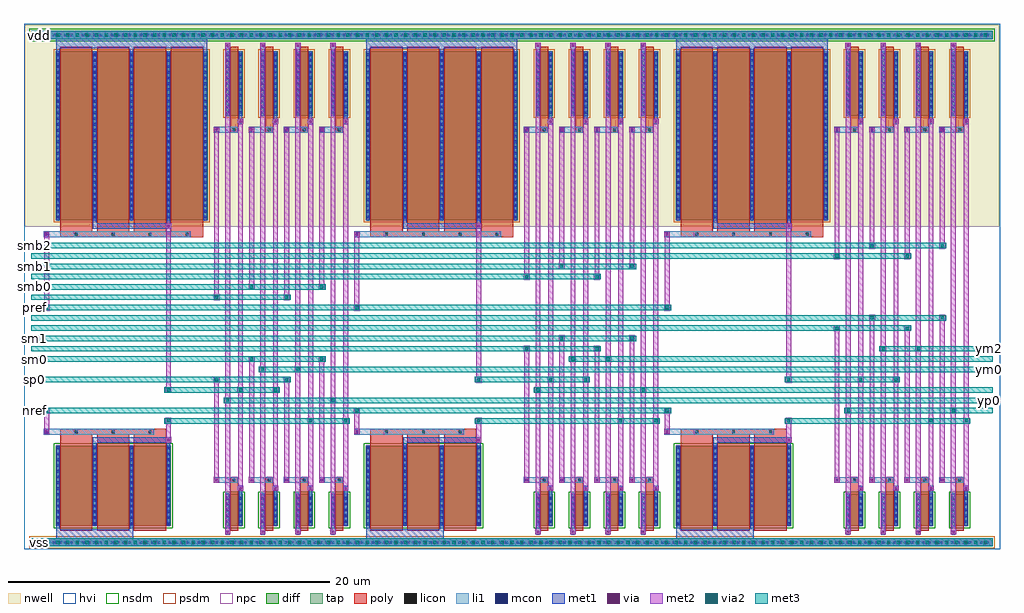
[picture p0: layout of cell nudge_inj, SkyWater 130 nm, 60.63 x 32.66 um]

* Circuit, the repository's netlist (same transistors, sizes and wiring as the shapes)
.subckt nudge_inj yp0 ym0 yp1 ym1 yp2 ym2 pref nref sp0 spb0 sm0 smb0 sp1 spb1 sm1 smb1 sp2 spb2 sm2 smb2 vdd vss
MXMN0 in0 nref vss vss nfet_g5v0d10v5 w=15u l=2u
MXSW1_0n ip0 sp0 yp0 vss nfet_g5v0d10v5 w=2u l=0.5u
MXSW2_0n ip0 sm0 ym0 vss nfet_g5v0d10v5 w=2u l=0.5u
MXSW3_0n in0 sp0 ym0 vss nfet_g5v0d10v5 w=2u l=0.5u
MXSW4_0n in0 sm0 yp0 vss nfet_g5v0d10v5 w=2u l=0.5u
MXMN1 in1 nref vss vss nfet_g5v0d10v5 w=15u l=2u
MXSW1_1n ip1 sp1 yp1 vss nfet_g5v0d10v5 w=2u l=0.5u
MXSW2_1n ip1 sm1 ym1 vss nfet_g5v0d10v5 w=2u l=0.5u
MXSW3_1n in1 sp1 ym1 vss nfet_g5v0d10v5 w=2u l=0.5u
MXSW4_1n in1 sm1 yp1 vss nfet_g5v0d10v5 w=2u l=0.5u
MXMN2 in2 nref vss vss nfet_g5v0d10v5 w=15u l=2u
MXSW1_2n ip2 sp2 yp2 vss nfet_g5v0d10v5 w=2u l=0.5u
MXSW2_2n ip2 sm2 ym2 vss nfet_g5v0d10v5 w=2u l=0.5u
MXSW3_2n in2 sp2 ym2 vss nfet_g5v0d10v5 w=2u l=0.5u
MXSW4_2n in2 sm2 yp2 vss nfet_g5v0d10v5 w=2u l=0.5u
MXMP0 ip0 pref vdd vdd pfet_g5v0d10v5 w=42u l=2u
MXSW1_0p ip0 spb0 yp0 vdd pfet_g5v0d10v5 w=4u l=0.5u
MXSW2_0p ip0 smb0 ym0 vdd pfet_g5v0d10v5 w=4u l=0.5u
MXSW3_0p in0 spb0 ym0 vdd pfet_g5v0d10v5 w=4u l=0.5u
MXSW4_0p in0 smb0 yp0 vdd pfet_g5v0d10v5 w=4u l=0.5u
MXMP1 ip1 pref vdd vdd pfet_g5v0d10v5 w=42u l=2u
MXSW1_1p ip1 spb1 yp1 vdd pfet_g5v0d10v5 w=4u l=0.5u
MXSW2_1p ip1 smb1 ym1 vdd pfet_g5v0d10v5 w=4u l=0.5u
MXSW3_1p in1 spb1 ym1 vdd pfet_g5v0d10v5 w=4u l=0.5u
MXSW4_1p in1 smb1 yp1 vdd pfet_g5v0d10v5 w=4u l=0.5u
MXMP2 ip2 pref vdd vdd pfet_g5v0d10v5 w=42u l=2u
MXSW1_2p ip2 spb2 yp2 vdd pfet_g5v0d10v5 w=4u l=0.5u
MXSW2_2p ip2 smb2 ym2 vdd pfet_g5v0d10v5 w=4u l=0.5u
MXSW3_2p in2 spb2 ym2 vdd pfet_g5v0d10v5 w=4u l=0.5u
MXSW4_2p in2 smb2 yp2 vdd pfet_g5v0d10v5 w=4u l=0.5u
.ends nudge_inj

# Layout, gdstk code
import gdstk
lib = gdstk.Library(unit=1e-6, precision=1e-09)
def R(c, l, rs):  # rectangles x0, y0, x1, y1
    for r in rs: c.add(gdstk.rectangle(r[:2], r[2:], *l))
def A(c, l, x, y, w, h, nx, ny, dx, dy):  # array of equal rectangles
    R(c, l, [(x+i*dx, y+j*dy, x+i*dx+w, y+j*dy+h) for i in range(nx) for j in range(ny)])
nwell = (64, 20)
diff = (65, 20)
tap = (65, 44)
poly = (66, 20)
licon = (66, 44)
li1 = (67, 20)
mcon = (67, 44)
met1 = (68, 20)
via = (68, 44)
met2 = (69, 20)
via2 = (69, 44)
met3 = (70, 20)
hvi = (75, 20)
nsdm = (93, 44)
psdm = (94, 20)
npc = (95, 20)

nudge_inj_p0_xmp0 = lib.new_cell('nudge_inj_p0_XMP0')
R(nudge_inj_p0_xmp0, diff, [(0,0.72,9.45,11.22)])
A(nudge_inj_p0_xmp0, poly, 0.29, 0.435, 2, 11.07, 4, 1, 2.29, 0)
A(nudge_inj_p0_xmp0, poly, 0.29, 11.22, 2, 0.86, 4, 1, 2.29, 0)
R(nudge_inj_p0_xmp0, poly, [(0.29,11.9,9.16,12.26)])
A(nudge_inj_p0_xmp0, licon, 0.06, 0.845, 0.17, 0.17, 5, 29, 2.29, 0.36)
A(nudge_inj_p0_xmp0, licon, 1.205, 11.995, 0.17, 0.17, 4, 1, 2.29, 0)
A(nudge_inj_p0_xmp0, li1, 0.06, 0.7, 0.17, 10.54, 5, 1, 2.29, 0)
R(nudge_inj_p0_xmp0, li1, [(1.04,11.9,8.41,12.26)])
A(nudge_inj_p0_xmp0, mcon, 0.06, 0.845, 0.17, 0.17, 5, 29, 2.29, 0.36)
A(nudge_inj_p0_xmp0, met1, 0.03, 0.19, 0.23, 0.53, 3, 1, 4.58, 0)
A(nudge_inj_p0_xmp0, met1, 0.03, 0.72, 0.23, 10.5, 5, 1, 2.29, 0)
R(nudge_inj_p0_xmp0, met1, [(0.03,0.19,9.42,0.53), (2.32,11.22,2.55,11.73), (6.9,11.22,7.13,11.73), (2.32,11.39,7.13,11.73)])
R(nudge_inj_p0_xmp0, psdm, [(-0.125,0.595,9.575,11.345)])
R(nudge_inj_p0_xmp0, npc, [(1.105,11.895,8.345,12.265)])

nudge_inj_p1_xsw1_0p = lib.new_cell('nudge_inj_p1_XSW1_0p')
R(nudge_inj_p1_xsw1_0p, diff, [(0,0.72,1.08,4.72)])
R(nudge_inj_p1_xsw1_0p, poly, [(0.29,0.435,0.79,5.005), (0.29,4.72,0.79,5.58), (0.29,5.4,0.79,5.76)])
A(nudge_inj_p1_xsw1_0p, licon, 0.06, 0.835, 0.17, 0.17, 1, 11, 0, 0.36)
A(nudge_inj_p1_xsw1_0p, licon, 0.85, 0.835, 0.17, 0.17, 1, 11, 0, 0.36)
R(nudge_inj_p1_xsw1_0p, licon, [(0.455,5.495,0.625,5.665)])
R(nudge_inj_p1_xsw1_0p, li1, [(0.06,0.7,0.23,4.74), (0.85,0.7,1.02,4.74), (0.29,5.4,0.79,5.76)])
A(nudge_inj_p1_xsw1_0p, mcon, 0.06, 0.835, 0.17, 0.17, 1, 11, 0, 0.36)
A(nudge_inj_p1_xsw1_0p, mcon, 0.85, 0.835, 0.17, 0.17, 1, 11, 0, 0.36)
R(nudge_inj_p1_xsw1_0p, met1, [(0.03,0.19,0.26,0.72), (0.03,0.19,0.26,0.53), (0.03,0.72,0.26,4.72), (0.82,0.72,1.05,4.72), (0.82,4.72,1.05,5.23), (0.82,4.89,1.05,5.23)])
R(nudge_inj_p1_xsw1_0p, psdm, [(-0.125,0.595,1.205,4.845)])
R(nudge_inj_p1_xsw1_0p, npc, [(0.355,5.395,0.725,5.765)])

nudge_inj_p2_xsw2_0p = lib.new_cell('nudge_inj_p2_XSW2_0p')
R(nudge_inj_p2_xsw2_0p, diff, [(0,0.72,1.08,4.72)])
R(nudge_inj_p2_xsw2_0p, poly, [(0.29,0.435,0.79,5.005), (0.29,4.72,0.79,5.58), (0.29,5.4,0.79,5.76)])
A(nudge_inj_p2_xsw2_0p, licon, 0.06, 0.835, 0.17, 0.17, 1, 11, 0, 0.36)
A(nudge_inj_p2_xsw2_0p, licon, 0.85, 0.835, 0.17, 0.17, 1, 11, 0, 0.36)
R(nudge_inj_p2_xsw2_0p, licon, [(0.455,5.495,0.625,5.665)])
R(nudge_inj_p2_xsw2_0p, li1, [(0.06,0.7,0.23,4.74), (0.85,0.7,1.02,4.74), (0.29,5.4,0.79,5.76)])
A(nudge_inj_p2_xsw2_0p, mcon, 0.06, 0.835, 0.17, 0.17, 1, 11, 0, 0.36)
A(nudge_inj_p2_xsw2_0p, mcon, 0.85, 0.835, 0.17, 0.17, 1, 11, 0, 0.36)
R(nudge_inj_p2_xsw2_0p, met1, [(0.03,0.19,0.26,0.72), (0.03,0.19,0.26,0.53), (0.03,0.72,0.26,4.72), (0.82,0.72,1.05,4.72), (0.82,4.72,1.05,5.23), (0.82,4.89,1.05,5.23)])
R(nudge_inj_p2_xsw2_0p, psdm, [(-0.125,0.595,1.205,4.845)])
R(nudge_inj_p2_xsw2_0p, npc, [(0.355,5.395,0.725,5.765)])

nudge_inj_p3_xsw3_0p = lib.new_cell('nudge_inj_p3_XSW3_0p')
R(nudge_inj_p3_xsw3_0p, diff, [(0,0.72,1.08,4.72)])
R(nudge_inj_p3_xsw3_0p, poly, [(0.29,0.435,0.79,5.005), (0.29,4.72,0.79,5.58), (0.29,5.4,0.79,5.76)])
A(nudge_inj_p3_xsw3_0p, licon, 0.06, 0.835, 0.17, 0.17, 1, 11, 0, 0.36)
A(nudge_inj_p3_xsw3_0p, licon, 0.85, 0.835, 0.17, 0.17, 1, 11, 0, 0.36)
R(nudge_inj_p3_xsw3_0p, licon, [(0.455,5.495,0.625,5.665)])
R(nudge_inj_p3_xsw3_0p, li1, [(0.06,0.7,0.23,4.74), (0.85,0.7,1.02,4.74), (0.29,5.4,0.79,5.76)])
A(nudge_inj_p3_xsw3_0p, mcon, 0.06, 0.835, 0.17, 0.17, 1, 11, 0, 0.36)
A(nudge_inj_p3_xsw3_0p, mcon, 0.85, 0.835, 0.17, 0.17, 1, 11, 0, 0.36)
R(nudge_inj_p3_xsw3_0p, met1, [(0.03,0.19,0.26,0.72), (0.03,0.19,0.26,0.53), (0.03,0.72,0.26,4.72), (0.82,0.72,1.05,4.72), (0.82,4.72,1.05,5.23), (0.82,4.89,1.05,5.23)])
R(nudge_inj_p3_xsw3_0p, psdm, [(-0.125,0.595,1.205,4.845)])
R(nudge_inj_p3_xsw3_0p, npc, [(0.355,5.395,0.725,5.765)])

nudge_inj_p4_xsw4_0p = lib.new_cell('nudge_inj_p4_XSW4_0p')
R(nudge_inj_p4_xsw4_0p, diff, [(0,0.72,1.08,4.72)])
R(nudge_inj_p4_xsw4_0p, poly, [(0.29,0.435,0.79,5.005), (0.29,4.72,0.79,5.58), (0.29,5.4,0.79,5.76)])
A(nudge_inj_p4_xsw4_0p, licon, 0.06, 0.835, 0.17, 0.17, 1, 11, 0, 0.36)
A(nudge_inj_p4_xsw4_0p, licon, 0.85, 0.835, 0.17, 0.17, 1, 11, 0, 0.36)
R(nudge_inj_p4_xsw4_0p, licon, [(0.455,5.495,0.625,5.665)])
R(nudge_inj_p4_xsw4_0p, li1, [(0.06,0.7,0.23,4.74), (0.85,0.7,1.02,4.74), (0.29,5.4,0.79,5.76)])
A(nudge_inj_p4_xsw4_0p, mcon, 0.06, 0.835, 0.17, 0.17, 1, 11, 0, 0.36)
A(nudge_inj_p4_xsw4_0p, mcon, 0.85, 0.835, 0.17, 0.17, 1, 11, 0, 0.36)
R(nudge_inj_p4_xsw4_0p, met1, [(0.03,0.19,0.26,0.72), (0.03,0.19,0.26,0.53), (0.03,0.72,0.26,4.72), (0.82,0.72,1.05,4.72), (0.82,4.72,1.05,5.23), (0.82,4.89,1.05,5.23)])
R(nudge_inj_p4_xsw4_0p, psdm, [(-0.125,0.595,1.205,4.845)])
R(nudge_inj_p4_xsw4_0p, npc, [(0.355,5.395,0.725,5.765)])

nudge_inj_p5_xmp1 = lib.new_cell('nudge_inj_p5_XMP1')
R(nudge_inj_p5_xmp1, diff, [(0,0.72,9.45,11.22)])
A(nudge_inj_p5_xmp1, poly, 0.29, 0.435, 2, 11.07, 4, 1, 2.29, 0)
A(nudge_inj_p5_xmp1, poly, 0.29, 11.22, 2, 0.86, 4, 1, 2.29, 0)
R(nudge_inj_p5_xmp1, poly, [(0.29,11.9,9.16,12.26)])
A(nudge_inj_p5_xmp1, licon, 0.06, 0.845, 0.17, 0.17, 5, 29, 2.29, 0.36)
A(nudge_inj_p5_xmp1, licon, 1.205, 11.995, 0.17, 0.17, 4, 1, 2.29, 0)
A(nudge_inj_p5_xmp1, li1, 0.06, 0.7, 0.17, 10.54, 5, 1, 2.29, 0)
R(nudge_inj_p5_xmp1, li1, [(1.04,11.9,8.41,12.26)])
A(nudge_inj_p5_xmp1, mcon, 0.06, 0.845, 0.17, 0.17, 5, 29, 2.29, 0.36)
A(nudge_inj_p5_xmp1, met1, 0.03, 0.19, 0.23, 0.53, 3, 1, 4.58, 0)
A(nudge_inj_p5_xmp1, met1, 0.03, 0.72, 0.23, 10.5, 5, 1, 2.29, 0)
R(nudge_inj_p5_xmp1, met1, [(0.03,0.19,9.42,0.53), (2.32,11.22,2.55,11.73), (6.9,11.22,7.13,11.73), (2.32,11.39,7.13,11.73)])
R(nudge_inj_p5_xmp1, psdm, [(-0.125,0.595,9.575,11.345)])
R(nudge_inj_p5_xmp1, npc, [(1.105,11.895,8.345,12.265)])

nudge_inj_p6_xsw1_1p = lib.new_cell('nudge_inj_p6_XSW1_1p')
R(nudge_inj_p6_xsw1_1p, diff, [(0,0.72,1.08,4.72)])
R(nudge_inj_p6_xsw1_1p, poly, [(0.29,0.435,0.79,5.005), (0.29,4.72,0.79,5.58), (0.29,5.4,0.79,5.76)])
A(nudge_inj_p6_xsw1_1p, licon, 0.06, 0.835, 0.17, 0.17, 1, 11, 0, 0.36)
A(nudge_inj_p6_xsw1_1p, licon, 0.85, 0.835, 0.17, 0.17, 1, 11, 0, 0.36)
R(nudge_inj_p6_xsw1_1p, licon, [(0.455,5.495,0.625,5.665)])
R(nudge_inj_p6_xsw1_1p, li1, [(0.06,0.7,0.23,4.74), (0.85,0.7,1.02,4.74), (0.29,5.4,0.79,5.76)])
A(nudge_inj_p6_xsw1_1p, mcon, 0.06, 0.835, 0.17, 0.17, 1, 11, 0, 0.36)
A(nudge_inj_p6_xsw1_1p, mcon, 0.85, 0.835, 0.17, 0.17, 1, 11, 0, 0.36)
R(nudge_inj_p6_xsw1_1p, met1, [(0.03,0.19,0.26,0.72), (0.03,0.19,0.26,0.53), (0.03,0.72,0.26,4.72), (0.82,0.72,1.05,4.72), (0.82,4.72,1.05,5.23), (0.82,4.89,1.05,5.23)])
R(nudge_inj_p6_xsw1_1p, psdm, [(-0.125,0.595,1.205,4.845)])
R(nudge_inj_p6_xsw1_1p, npc, [(0.355,5.395,0.725,5.765)])

nudge_inj_p7_xsw2_1p = lib.new_cell('nudge_inj_p7_XSW2_1p')
R(nudge_inj_p7_xsw2_1p, diff, [(0,0.72,1.08,4.72)])
R(nudge_inj_p7_xsw2_1p, poly, [(0.29,0.435,0.79,5.005), (0.29,4.72,0.79,5.58), (0.29,5.4,0.79,5.76)])
A(nudge_inj_p7_xsw2_1p, licon, 0.06, 0.835, 0.17, 0.17, 1, 11, 0, 0.36)
A(nudge_inj_p7_xsw2_1p, licon, 0.85, 0.835, 0.17, 0.17, 1, 11, 0, 0.36)
R(nudge_inj_p7_xsw2_1p, licon, [(0.455,5.495,0.625,5.665)])
R(nudge_inj_p7_xsw2_1p, li1, [(0.06,0.7,0.23,4.74), (0.85,0.7,1.02,4.74), (0.29,5.4,0.79,5.76)])
A(nudge_inj_p7_xsw2_1p, mcon, 0.06, 0.835, 0.17, 0.17, 1, 11, 0, 0.36)
A(nudge_inj_p7_xsw2_1p, mcon, 0.85, 0.835, 0.17, 0.17, 1, 11, 0, 0.36)
R(nudge_inj_p7_xsw2_1p, met1, [(0.03,0.19,0.26,0.72), (0.03,0.19,0.26,0.53), (0.03,0.72,0.26,4.72), (0.82,0.72,1.05,4.72), (0.82,4.72,1.05,5.23), (0.82,4.89,1.05,5.23)])
R(nudge_inj_p7_xsw2_1p, psdm, [(-0.125,0.595,1.205,4.845)])
R(nudge_inj_p7_xsw2_1p, npc, [(0.355,5.395,0.725,5.765)])

nudge_inj_p8_xsw3_1p = lib.new_cell('nudge_inj_p8_XSW3_1p')
R(nudge_inj_p8_xsw3_1p, diff, [(0,0.72,1.08,4.72)])
R(nudge_inj_p8_xsw3_1p, poly, [(0.29,0.435,0.79,5.005), (0.29,4.72,0.79,5.58), (0.29,5.4,0.79,5.76)])
A(nudge_inj_p8_xsw3_1p, licon, 0.06, 0.835, 0.17, 0.17, 1, 11, 0, 0.36)
A(nudge_inj_p8_xsw3_1p, licon, 0.85, 0.835, 0.17, 0.17, 1, 11, 0, 0.36)
R(nudge_inj_p8_xsw3_1p, licon, [(0.455,5.495,0.625,5.665)])
R(nudge_inj_p8_xsw3_1p, li1, [(0.06,0.7,0.23,4.74), (0.85,0.7,1.02,4.74), (0.29,5.4,0.79,5.76)])
A(nudge_inj_p8_xsw3_1p, mcon, 0.06, 0.835, 0.17, 0.17, 1, 11, 0, 0.36)
A(nudge_inj_p8_xsw3_1p, mcon, 0.85, 0.835, 0.17, 0.17, 1, 11, 0, 0.36)
R(nudge_inj_p8_xsw3_1p, met1, [(0.03,0.19,0.26,0.72), (0.03,0.19,0.26,0.53), (0.03,0.72,0.26,4.72), (0.82,0.72,1.05,4.72), (0.82,4.72,1.05,5.23), (0.82,4.89,1.05,5.23)])
R(nudge_inj_p8_xsw3_1p, psdm, [(-0.125,0.595,1.205,4.845)])
R(nudge_inj_p8_xsw3_1p, npc, [(0.355,5.395,0.725,5.765)])

nudge_inj_p9_xsw4_1p = lib.new_cell('nudge_inj_p9_XSW4_1p')
R(nudge_inj_p9_xsw4_1p, diff, [(0,0.72,1.08,4.72)])
R(nudge_inj_p9_xsw4_1p, poly, [(0.29,0.435,0.79,5.005), (0.29,4.72,0.79,5.58), (0.29,5.4,0.79,5.76)])
A(nudge_inj_p9_xsw4_1p, licon, 0.06, 0.835, 0.17, 0.17, 1, 11, 0, 0.36)
A(nudge_inj_p9_xsw4_1p, licon, 0.85, 0.835, 0.17, 0.17, 1, 11, 0, 0.36)
R(nudge_inj_p9_xsw4_1p, licon, [(0.455,5.495,0.625,5.665)])
R(nudge_inj_p9_xsw4_1p, li1, [(0.06,0.7,0.23,4.74), (0.85,0.7,1.02,4.74), (0.29,5.4,0.79,5.76)])
A(nudge_inj_p9_xsw4_1p, mcon, 0.06, 0.835, 0.17, 0.17, 1, 11, 0, 0.36)
A(nudge_inj_p9_xsw4_1p, mcon, 0.85, 0.835, 0.17, 0.17, 1, 11, 0, 0.36)
R(nudge_inj_p9_xsw4_1p, met1, [(0.03,0.19,0.26,0.72), (0.03,0.19,0.26,0.53), (0.03,0.72,0.26,4.72), (0.82,0.72,1.05,4.72), (0.82,4.72,1.05,5.23), (0.82,4.89,1.05,5.23)])
R(nudge_inj_p9_xsw4_1p, psdm, [(-0.125,0.595,1.205,4.845)])
R(nudge_inj_p9_xsw4_1p, npc, [(0.355,5.395,0.725,5.765)])

nudge_inj_p10_xmp2 = lib.new_cell('nudge_inj_p10_XMP2')
R(nudge_inj_p10_xmp2, diff, [(0,0.72,9.45,11.22)])
A(nudge_inj_p10_xmp2, poly, 0.29, 0.435, 2, 11.07, 4, 1, 2.29, 0)
A(nudge_inj_p10_xmp2, poly, 0.29, 11.22, 2, 0.86, 4, 1, 2.29, 0)
R(nudge_inj_p10_xmp2, poly, [(0.29,11.9,9.16,12.26)])
A(nudge_inj_p10_xmp2, licon, 0.06, 0.845, 0.17, 0.17, 5, 29, 2.29, 0.36)
A(nudge_inj_p10_xmp2, licon, 1.205, 11.995, 0.17, 0.17, 4, 1, 2.29, 0)
A(nudge_inj_p10_xmp2, li1, 0.06, 0.7, 0.17, 10.54, 5, 1, 2.29, 0)
R(nudge_inj_p10_xmp2, li1, [(1.04,11.9,8.41,12.26)])
A(nudge_inj_p10_xmp2, mcon, 0.06, 0.845, 0.17, 0.17, 5, 29, 2.29, 0.36)
A(nudge_inj_p10_xmp2, met1, 0.03, 0.19, 0.23, 0.53, 3, 1, 4.58, 0)
A(nudge_inj_p10_xmp2, met1, 0.03, 0.72, 0.23, 10.5, 5, 1, 2.29, 0)
R(nudge_inj_p10_xmp2, met1, [(0.03,0.19,9.42,0.53), (2.32,11.22,2.55,11.73), (6.9,11.22,7.13,11.73), (2.32,11.39,7.13,11.73)])
R(nudge_inj_p10_xmp2, psdm, [(-0.125,0.595,9.575,11.345)])
R(nudge_inj_p10_xmp2, npc, [(1.105,11.895,8.345,12.265)])

nudge_inj_p11_xsw1_2p = lib.new_cell('nudge_inj_p11_XSW1_2p')
R(nudge_inj_p11_xsw1_2p, diff, [(0,0.72,1.08,4.72)])
R(nudge_inj_p11_xsw1_2p, poly, [(0.29,0.435,0.79,5.005), (0.29,4.72,0.79,5.58), (0.29,5.4,0.79,5.76)])
A(nudge_inj_p11_xsw1_2p, licon, 0.06, 0.835, 0.17, 0.17, 1, 11, 0, 0.36)
A(nudge_inj_p11_xsw1_2p, licon, 0.85, 0.835, 0.17, 0.17, 1, 11, 0, 0.36)
R(nudge_inj_p11_xsw1_2p, licon, [(0.455,5.495,0.625,5.665)])
R(nudge_inj_p11_xsw1_2p, li1, [(0.06,0.7,0.23,4.74), (0.85,0.7,1.02,4.74), (0.29,5.4,0.79,5.76)])
A(nudge_inj_p11_xsw1_2p, mcon, 0.06, 0.835, 0.17, 0.17, 1, 11, 0, 0.36)
A(nudge_inj_p11_xsw1_2p, mcon, 0.85, 0.835, 0.17, 0.17, 1, 11, 0, 0.36)
R(nudge_inj_p11_xsw1_2p, met1, [(0.03,0.19,0.26,0.72), (0.03,0.19,0.26,0.53), (0.03,0.72,0.26,4.72), (0.82,0.72,1.05,4.72), (0.82,4.72,1.05,5.23), (0.82,4.89,1.05,5.23)])
R(nudge_inj_p11_xsw1_2p, psdm, [(-0.125,0.595,1.205,4.845)])
R(nudge_inj_p11_xsw1_2p, npc, [(0.355,5.395,0.725,5.765)])

nudge_inj_p12_xsw2_2p = lib.new_cell('nudge_inj_p12_XSW2_2p')
R(nudge_inj_p12_xsw2_2p, diff, [(0,0.72,1.08,4.72)])
R(nudge_inj_p12_xsw2_2p, poly, [(0.29,0.435,0.79,5.005), (0.29,4.72,0.79,5.58), (0.29,5.4,0.79,5.76)])
A(nudge_inj_p12_xsw2_2p, licon, 0.06, 0.835, 0.17, 0.17, 1, 11, 0, 0.36)
A(nudge_inj_p12_xsw2_2p, licon, 0.85, 0.835, 0.17, 0.17, 1, 11, 0, 0.36)
R(nudge_inj_p12_xsw2_2p, licon, [(0.455,5.495,0.625,5.665)])
R(nudge_inj_p12_xsw2_2p, li1, [(0.06,0.7,0.23,4.74), (0.85,0.7,1.02,4.74), (0.29,5.4,0.79,5.76)])
A(nudge_inj_p12_xsw2_2p, mcon, 0.06, 0.835, 0.17, 0.17, 1, 11, 0, 0.36)
A(nudge_inj_p12_xsw2_2p, mcon, 0.85, 0.835, 0.17, 0.17, 1, 11, 0, 0.36)
R(nudge_inj_p12_xsw2_2p, met1, [(0.03,0.19,0.26,0.72), (0.03,0.19,0.26,0.53), (0.03,0.72,0.26,4.72), (0.82,0.72,1.05,4.72), (0.82,4.72,1.05,5.23), (0.82,4.89,1.05,5.23)])
R(nudge_inj_p12_xsw2_2p, psdm, [(-0.125,0.595,1.205,4.845)])
R(nudge_inj_p12_xsw2_2p, npc, [(0.355,5.395,0.725,5.765)])

nudge_inj_p13_xsw3_2p = lib.new_cell('nudge_inj_p13_XSW3_2p')
R(nudge_inj_p13_xsw3_2p, diff, [(0,0.72,1.08,4.72)])
R(nudge_inj_p13_xsw3_2p, poly, [(0.29,0.435,0.79,5.005), (0.29,4.72,0.79,5.58), (0.29,5.4,0.79,5.76)])
A(nudge_inj_p13_xsw3_2p, licon, 0.06, 0.835, 0.17, 0.17, 1, 11, 0, 0.36)
A(nudge_inj_p13_xsw3_2p, licon, 0.85, 0.835, 0.17, 0.17, 1, 11, 0, 0.36)
R(nudge_inj_p13_xsw3_2p, licon, [(0.455,5.495,0.625,5.665)])
R(nudge_inj_p13_xsw3_2p, li1, [(0.06,0.7,0.23,4.74), (0.85,0.7,1.02,4.74), (0.29,5.4,0.79,5.76)])
A(nudge_inj_p13_xsw3_2p, mcon, 0.06, 0.835, 0.17, 0.17, 1, 11, 0, 0.36)
A(nudge_inj_p13_xsw3_2p, mcon, 0.85, 0.835, 0.17, 0.17, 1, 11, 0, 0.36)
R(nudge_inj_p13_xsw3_2p, met1, [(0.03,0.19,0.26,0.72), (0.03,0.19,0.26,0.53), (0.03,0.72,0.26,4.72), (0.82,0.72,1.05,4.72), (0.82,4.72,1.05,5.23), (0.82,4.89,1.05,5.23)])
R(nudge_inj_p13_xsw3_2p, psdm, [(-0.125,0.595,1.205,4.845)])
R(nudge_inj_p13_xsw3_2p, npc, [(0.355,5.395,0.725,5.765)])

nudge_inj_p14_xsw4_2p = lib.new_cell('nudge_inj_p14_XSW4_2p')
R(nudge_inj_p14_xsw4_2p, diff, [(0,0.72,1.08,4.72)])
R(nudge_inj_p14_xsw4_2p, poly, [(0.29,0.435,0.79,5.005), (0.29,4.72,0.79,5.58), (0.29,5.4,0.79,5.76)])
A(nudge_inj_p14_xsw4_2p, licon, 0.06, 0.835, 0.17, 0.17, 1, 11, 0, 0.36)
A(nudge_inj_p14_xsw4_2p, licon, 0.85, 0.835, 0.17, 0.17, 1, 11, 0, 0.36)
R(nudge_inj_p14_xsw4_2p, licon, [(0.455,5.495,0.625,5.665)])
R(nudge_inj_p14_xsw4_2p, li1, [(0.06,0.7,0.23,4.74), (0.85,0.7,1.02,4.74), (0.29,5.4,0.79,5.76)])
A(nudge_inj_p14_xsw4_2p, mcon, 0.06, 0.835, 0.17, 0.17, 1, 11, 0, 0.36)
A(nudge_inj_p14_xsw4_2p, mcon, 0.85, 0.835, 0.17, 0.17, 1, 11, 0, 0.36)
R(nudge_inj_p14_xsw4_2p, met1, [(0.03,0.19,0.26,0.72), (0.03,0.19,0.26,0.53), (0.03,0.72,0.26,4.72), (0.82,0.72,1.05,4.72), (0.82,4.72,1.05,5.23), (0.82,4.89,1.05,5.23)])
R(nudge_inj_p14_xsw4_2p, psdm, [(-0.125,0.595,1.205,4.845)])
R(nudge_inj_p14_xsw4_2p, npc, [(0.355,5.395,0.725,5.765)])

nudge_inj = lib.new_cell('nudge_inj')
R(nudge_inj, nwell, [(0.06,20.035,60.57,32.605)])
A(nudge_inj, diff, 1.96, 1.455, 7.16, 5, 3, 1, 19.27, 0)
A(nudge_inj, diff, 12.51, 1.455, 1.08, 2, 4, 1, 2.18, 0)
A(nudge_inj, diff, 31.78, 1.455, 1.08, 2, 4, 1, 2.18, 0)
A(nudge_inj, diff, 51.05, 1.455, 1.08, 2, 4, 1, 2.18, 0)
R(nudge_inj, tap, [(0.46,0.185,60.17,0.685), (0.46,31.705,60.17,32.205)])
A(nudge_inj, poly, 2.25, 1.17, 2, 5.57, 3, 1, 2.29, 0)
A(nudge_inj, poly, 12.8, 1.17, 0.5, 2.57, 4, 1, 2.18, 0)
A(nudge_inj, poly, 21.52, 1.17, 2, 5.57, 3, 1, 2.29, 0)
A(nudge_inj, poly, 32.07, 1.17, 0.5, 2.57, 4, 1, 2.18, 0)
A(nudge_inj, poly, 40.79, 1.17, 2, 5.57, 3, 1, 2.29, 0)
A(nudge_inj, poly, 51.34, 1.17, 0.5, 2.57, 4, 1, 2.18, 0)
A(nudge_inj, poly, 12.8, 3.455, 0.5, 0.86, 4, 1, 2.18, 0)
A(nudge_inj, poly, 32.07, 3.455, 0.5, 0.86, 4, 1, 2.18, 0)
A(nudge_inj, poly, 51.34, 3.455, 0.5, 0.86, 4, 1, 2.18, 0)
A(nudge_inj, poly, 12.8, 4.135, 0.5, 0.36, 4, 1, 2.18, 0)
A(nudge_inj, poly, 32.07, 4.135, 0.5, 0.36, 4, 1, 2.18, 0)
A(nudge_inj, poly, 51.34, 4.135, 0.5, 0.36, 4, 1, 2.18, 0)
A(nudge_inj, poly, 2.25, 6.455, 2, 0.86, 3, 1, 2.29, 0)
A(nudge_inj, poly, 21.52, 6.455, 2, 0.86, 3, 1, 2.29, 0)
A(nudge_inj, poly, 40.79, 6.455, 2, 0.86, 3, 1, 2.29, 0)
A(nudge_inj, poly, 2.25, 7.135, 6.58, 0.36, 3, 1, 19.27, 0)
A(nudge_inj, licon, 0.71, 0.35, 0.17, 0.17, 165, 2, 0.36, 31.52)
A(nudge_inj, licon, 2.02, 1.53, 0.17, 0.17, 4, 14, 2.29, 0.36)
A(nudge_inj, licon, 21.29, 1.53, 0.17, 0.17, 4, 14, 2.29, 0.36)
A(nudge_inj, licon, 40.56, 1.53, 0.17, 0.17, 4, 14, 2.29, 0.36)
A(nudge_inj, licon, 12.57, 1.65, 0.17, 0.17, 1, 5, 0, 0.36)
A(nudge_inj, licon, 13.36, 1.65, 0.17, 0.17, 1, 5, 0, 0.36)
A(nudge_inj, licon, 14.75, 1.65, 0.17, 0.17, 1, 5, 0, 0.36)
A(nudge_inj, licon, 15.54, 1.65, 0.17, 0.17, 1, 5, 0, 0.36)
A(nudge_inj, licon, 16.93, 1.65, 0.17, 0.17, 1, 5, 0, 0.36)
A(nudge_inj, licon, 17.72, 1.65, 0.17, 0.17, 1, 5, 0, 0.36)
A(nudge_inj, licon, 19.11, 1.65, 0.17, 0.17, 1, 5, 0, 0.36)
A(nudge_inj, licon, 19.9, 1.65, 0.17, 0.17, 1, 5, 0, 0.36)
A(nudge_inj, licon, 31.84, 1.65, 0.17, 0.17, 1, 5, 0, 0.36)
A(nudge_inj, licon, 32.63, 1.65, 0.17, 0.17, 1, 5, 0, 0.36)
A(nudge_inj, licon, 34.02, 1.65, 0.17, 0.17, 1, 5, 0, 0.36)
A(nudge_inj, licon, 34.81, 1.65, 0.17, 0.17, 1, 5, 0, 0.36)
A(nudge_inj, licon, 36.2, 1.65, 0.17, 0.17, 1, 5, 0, 0.36)
A(nudge_inj, licon, 36.99, 1.65, 0.17, 0.17, 1, 5, 0, 0.36)
A(nudge_inj, licon, 38.38, 1.65, 0.17, 0.17, 1, 5, 0, 0.36)
A(nudge_inj, licon, 39.17, 1.65, 0.17, 0.17, 1, 5, 0, 0.36)
A(nudge_inj, licon, 51.11, 1.65, 0.17, 0.17, 1, 5, 0, 0.36)
A(nudge_inj, licon, 51.9, 1.65, 0.17, 0.17, 1, 5, 0, 0.36)
A(nudge_inj, licon, 53.29, 1.65, 0.17, 0.17, 1, 5, 0, 0.36)
A(nudge_inj, licon, 54.08, 1.65, 0.17, 0.17, 1, 5, 0, 0.36)
A(nudge_inj, licon, 55.47, 1.65, 0.17, 0.17, 1, 5, 0, 0.36)
A(nudge_inj, licon, 56.26, 1.65, 0.17, 0.17, 1, 5, 0, 0.36)
A(nudge_inj, licon, 57.65, 1.65, 0.17, 0.17, 1, 5, 0, 0.36)
A(nudge_inj, licon, 58.44, 1.65, 0.17, 0.17, 1, 5, 0, 0.36)
A(nudge_inj, licon, 12.965, 4.23, 0.17, 0.17, 4, 1, 2.18, 0)
A(nudge_inj, licon, 32.235, 4.23, 0.17, 0.17, 4, 1, 2.18, 0)
A(nudge_inj, licon, 51.505, 4.23, 0.17, 0.17, 4, 1, 2.18, 0)
A(nudge_inj, licon, 3.165, 7.23, 0.17, 0.17, 3, 1, 2.29, 0)
A(nudge_inj, licon, 22.435, 7.23, 0.17, 0.17, 3, 1, 2.29, 0)
A(nudge_inj, licon, 41.705, 7.23, 0.17, 0.17, 3, 1, 2.29, 0)
A(nudge_inj, li1, 2.02, 1.435, 0.17, 5.04, 4, 1, 2.29, 0)
A(nudge_inj, li1, 21.29, 1.435, 0.17, 5.04, 4, 1, 2.29, 0)
A(nudge_inj, li1, 40.56, 1.435, 0.17, 5.04, 4, 1, 2.29, 0)
A(nudge_inj, li1, 11.79, 4.135, 1.26, 0.36, 4, 2, 2.18, 21.76)
A(nudge_inj, li1, 12.8, 4.135, 0.5, 0.36, 4, 1, 2.18, 0)
A(nudge_inj, li1, 31.06, 4.135, 1.26, 0.36, 4, 2, 2.18, 21.76)
A(nudge_inj, li1, 32.07, 4.135, 0.5, 0.36, 4, 1, 2.18, 0)
A(nudge_inj, li1, 50.33, 4.135, 1.26, 0.36, 4, 2, 2.18, 21.76)
A(nudge_inj, li1, 51.34, 4.135, 0.5, 0.36, 4, 1, 2.18, 0)
A(nudge_inj, li1, 1.24, 7.135, 2.01, 0.36, 3, 2, 19.27, 12.26)
A(nudge_inj, li1, 3, 7.135, 5.08, 0.36, 3, 1, 19.27, 0)
R(nudge_inj, li1, [(0.46,0.185,60.17,0.685), (12.57,1.435,12.74,3.475), (13.36,1.435,13.53,3.475), (14.75,1.435,14.92,3.475), (15.54,1.435,15.71,3.475), (16.93,1.435,17.1,3.475), (17.72,1.435,17.89,3.475), (19.11,1.435,19.28,3.475), (19.9,1.435,20.07,3.475), (31.84,1.435,32.01,3.475), (32.63,1.435,32.8,3.475), (34.02,1.435,34.19,3.475), (34.81,1.435,34.98,3.475), (36.2,1.435,36.37,3.475), (36.99,1.435,37.16,3.475), (38.38,1.435,38.55,3.475), (39.17,1.435,39.34,3.475), (51.11,1.435,51.28,3.475), (51.9,1.435,52.07,3.475), (53.29,1.435,53.46,3.475), (54.08,1.435,54.25,3.475), (55.47,1.435,55.64,3.475), (56.26,1.435,56.43,3.475), (57.65,1.435,57.82,3.475), (58.44,1.435,58.61,3.475), (0.46,31.705,60.17,32.205)])
A(nudge_inj, mcon, 0.71, 0.35, 0.17, 0.17, 165, 2, 0.36, 31.52)
A(nudge_inj, mcon, 2.02, 1.53, 0.17, 0.17, 4, 14, 2.29, 0.36)
A(nudge_inj, mcon, 21.29, 1.53, 0.17, 0.17, 4, 14, 2.29, 0.36)
A(nudge_inj, mcon, 40.56, 1.53, 0.17, 0.17, 4, 14, 2.29, 0.36)
A(nudge_inj, mcon, 12.57, 1.65, 0.17, 0.17, 1, 5, 0, 0.36)
A(nudge_inj, mcon, 13.36, 1.65, 0.17, 0.17, 1, 5, 0, 0.36)
A(nudge_inj, mcon, 14.75, 1.65, 0.17, 0.17, 1, 5, 0, 0.36)
A(nudge_inj, mcon, 15.54, 1.65, 0.17, 0.17, 1, 5, 0, 0.36)
A(nudge_inj, mcon, 16.93, 1.65, 0.17, 0.17, 1, 5, 0, 0.36)
A(nudge_inj, mcon, 17.72, 1.65, 0.17, 0.17, 1, 5, 0, 0.36)
A(nudge_inj, mcon, 19.11, 1.65, 0.17, 0.17, 1, 5, 0, 0.36)
A(nudge_inj, mcon, 19.9, 1.65, 0.17, 0.17, 1, 5, 0, 0.36)
A(nudge_inj, mcon, 31.84, 1.65, 0.17, 0.17, 1, 5, 0, 0.36)
A(nudge_inj, mcon, 32.63, 1.65, 0.17, 0.17, 1, 5, 0, 0.36)
A(nudge_inj, mcon, 34.02, 1.65, 0.17, 0.17, 1, 5, 0, 0.36)
A(nudge_inj, mcon, 34.81, 1.65, 0.17, 0.17, 1, 5, 0, 0.36)
A(nudge_inj, mcon, 36.2, 1.65, 0.17, 0.17, 1, 5, 0, 0.36)
A(nudge_inj, mcon, 36.99, 1.65, 0.17, 0.17, 1, 5, 0, 0.36)
A(nudge_inj, mcon, 38.38, 1.65, 0.17, 0.17, 1, 5, 0, 0.36)
A(nudge_inj, mcon, 39.17, 1.65, 0.17, 0.17, 1, 5, 0, 0.36)
A(nudge_inj, mcon, 51.11, 1.65, 0.17, 0.17, 1, 5, 0, 0.36)
A(nudge_inj, mcon, 51.9, 1.65, 0.17, 0.17, 1, 5, 0, 0.36)
A(nudge_inj, mcon, 53.29, 1.65, 0.17, 0.17, 1, 5, 0, 0.36)
A(nudge_inj, mcon, 54.08, 1.65, 0.17, 0.17, 1, 5, 0, 0.36)
A(nudge_inj, mcon, 55.47, 1.65, 0.17, 0.17, 1, 5, 0, 0.36)
A(nudge_inj, mcon, 56.26, 1.65, 0.17, 0.17, 1, 5, 0, 0.36)
A(nudge_inj, mcon, 57.65, 1.65, 0.17, 0.17, 1, 5, 0, 0.36)
A(nudge_inj, mcon, 58.44, 1.65, 0.17, 0.17, 1, 5, 0, 0.36)
A(nudge_inj, mcon, 11.875, 4.23, 0.17, 0.17, 4, 2, 2.18, 21.76)
A(nudge_inj, mcon, 31.145, 4.23, 0.17, 0.17, 4, 2, 2.18, 21.76)
A(nudge_inj, mcon, 50.415, 4.23, 0.17, 0.17, 4, 2, 2.18, 21.76)
A(nudge_inj, mcon, 1.325, 7.23, 0.17, 0.17, 3, 2, 19.27, 12.26)
A(nudge_inj, met1, 1.99, 0.435, 4.81, 0.66, 3, 1, 19.27, 0)
A(nudge_inj, met1, 1.99, 0.925, 4.81, 0.34, 3, 1, 19.27, 0)
A(nudge_inj, met1, 12.54, 0.925, 0.23, 0.53, 5, 1, 2.18, 0)
A(nudge_inj, met1, 12.54, 0.925, 0.23, 0.34, 4, 1, 2.18, 0)
A(nudge_inj, met1, 31.81, 0.925, 0.23, 0.53, 5, 1, 2.18, 0)
A(nudge_inj, met1, 31.81, 0.925, 0.23, 0.34, 4, 1, 2.18, 0)
A(nudge_inj, met1, 51.08, 0.925, 0.23, 0.53, 4, 1, 2.18, 0)
A(nudge_inj, met1, 51.08, 0.925, 0.23, 0.34, 4, 1, 2.18, 0)
A(nudge_inj, met1, 12.49, 0.93, 0.33, 0.33, 4, 2, 2.18, 30.2)
A(nudge_inj, met1, 31.76, 0.93, 0.33, 0.33, 4, 2, 2.18, 30.2)
A(nudge_inj, met1, 51.03, 0.93, 0.33, 0.33, 4, 2, 2.18, 30.2)
A(nudge_inj, met1, 1.99, 1.455, 0.23, 5, 4, 1, 2.29, 0)
A(nudge_inj, met1, 21.26, 1.455, 0.23, 5, 4, 1, 2.29, 0)
A(nudge_inj, met1, 40.53, 1.455, 0.23, 5, 4, 1, 2.29, 0)
A(nudge_inj, met1, 13.33, 3.455, 0.23, 0.51, 4, 1, 2.18, 0)
A(nudge_inj, met1, 32.6, 3.455, 0.23, 0.51, 4, 1, 2.18, 0)
A(nudge_inj, met1, 51.87, 3.455, 0.23, 0.51, 4, 1, 2.18, 0)
A(nudge_inj, met1, 13.33, 3.625, 0.23, 0.34, 4, 1, 2.18, 0)
A(nudge_inj, met1, 32.6, 3.625, 0.23, 0.34, 4, 1, 2.18, 0)
A(nudge_inj, met1, 51.87, 3.625, 0.23, 0.34, 4, 1, 2.18, 0)
A(nudge_inj, met1, 13.28, 3.63, 0.33, 0.33, 4, 2, 2.18, 22.8)
A(nudge_inj, met1, 32.55, 3.63, 0.33, 0.33, 4, 2, 2.18, 22.8)
A(nudge_inj, met1, 51.82, 3.63, 0.33, 0.33, 4, 2, 2.18, 22.8)
A(nudge_inj, met1, 11.79, 4.145, 0.34, 0.34, 4, 2, 2.18, 21.76)
A(nudge_inj, met1, 31.06, 4.145, 0.34, 0.34, 4, 2, 2.18, 21.76)
A(nudge_inj, met1, 50.33, 4.145, 0.34, 0.34, 4, 2, 2.18, 21.76)
A(nudge_inj, met1, 4.28, 6.625, 4.81, 0.34, 3, 1, 19.27, 0)
A(nudge_inj, met1, 8.81, 6.63, 0.33, 0.33, 3, 2, 19.27, 13.3)
A(nudge_inj, met1, 1.24, 7.145, 0.34, 0.34, 3, 2, 19.27, 12.26)
A(nudge_inj, met1, 1.99, 31.295, 9.39, 0.66, 3, 1, 19.27, 0)
R(nudge_inj, met1, [(0.46,0.185,60.17,0.685), (1.99,0.925,2.22,1.455), (6.57,0.925,6.8,1.455), (25.84,0.925,26.07,1.455), (45.11,0.925,45.34,1.455), (12.54,1.455,12.77,3.455), (13.33,1.455,13.56,3.455), (14.72,1.455,14.95,3.455), (15.51,1.455,15.74,3.455), (16.9,1.455,17.13,3.455), (17.69,1.455,17.92,3.455), (19.08,1.455,19.31,3.455), (19.87,1.455,20.1,3.455), (31.81,1.455,32.04,3.455), (32.6,1.455,32.83,3.455), (33.99,1.455,34.22,3.455), (34.78,1.455,35.01,3.455), (36.17,1.455,36.4,3.455), (36.96,1.455,37.19,3.455), (38.35,1.455,38.58,3.455), (39.14,1.455,39.37,3.455), (51.08,1.455,51.31,3.455), (51.87,1.455,52.1,3.455), (53.26,1.455,53.49,3.455), (54.05,1.455,54.28,3.455), (55.44,1.455,55.67,3.455), (56.23,1.455,56.46,3.455), (57.62,1.455,57.85,3.455), (58.41,1.455,58.64,3.455), (4.28,6.455,4.51,6.965), (8.86,6.455,9.09,6.965), (23.55,6.455,23.78,6.965), (28.13,6.455,28.36,6.965), (42.82,6.455,43.05,6.965), (47.4,6.455,47.63,6.965), (0.46,31.705,60.17,32.205)])
A(nudge_inj, via, 0.84, 0.36, 0.15, 0.15, 99, 2, 0.6, 31.52)
A(nudge_inj, via, 12.58, 1.02, 0.15, 0.15, 4, 2, 2.18, 30.2)
A(nudge_inj, via, 31.85, 1.02, 0.15, 0.15, 4, 2, 2.18, 30.2)
A(nudge_inj, via, 51.12, 1.02, 0.15, 0.15, 4, 2, 2.18, 30.2)
A(nudge_inj, via, 13.37, 3.72, 0.15, 0.15, 4, 2, 2.18, 22.8)
A(nudge_inj, via, 32.64, 3.72, 0.15, 0.15, 4, 2, 2.18, 22.8)
A(nudge_inj, via, 51.91, 3.72, 0.15, 0.15, 4, 2, 2.18, 22.8)
A(nudge_inj, via, 11.885, 4.24, 0.15, 0.15, 4, 2, 2.18, 21.76)
A(nudge_inj, via, 31.155, 4.24, 0.15, 0.15, 4, 2, 2.18, 21.76)
A(nudge_inj, via, 50.425, 4.24, 0.15, 0.15, 4, 2, 2.18, 21.76)
A(nudge_inj, via, 8.9, 6.72, 0.15, 0.15, 3, 2, 19.27, 13.3)
A(nudge_inj, via, 1.335, 7.24, 0.15, 0.15, 3, 2, 19.27, 12.26)
A(nudge_inj, met2, 12.49, 0.93, 0.33, 0.33, 4, 2, 2.18, 30.2)
A(nudge_inj, met2, 31.76, 0.93, 0.33, 0.33, 4, 2, 2.18, 30.2)
A(nudge_inj, met2, 51.03, 0.93, 0.33, 0.33, 4, 2, 2.18, 30.2)
A(nudge_inj, met2, 13.28, 3.63, 0.33, 0.33, 4, 2, 2.18, 22.8)
A(nudge_inj, met2, 32.55, 3.63, 0.33, 0.33, 4, 2, 2.18, 22.8)
A(nudge_inj, met2, 51.82, 3.63, 0.33, 0.33, 4, 2, 2.18, 22.8)
A(nudge_inj, met2, 11.795, 4.15, 0.33, 0.33, 4, 2, 2.18, 21.76)
A(nudge_inj, met2, 31.065, 4.15, 0.33, 0.33, 4, 2, 2.18, 21.76)
A(nudge_inj, met2, 50.335, 4.15, 0.33, 0.33, 4, 2, 2.18, 21.76)
A(nudge_inj, met2, 8.81, 6.63, 0.33, 0.33, 3, 2, 19.27, 13.3)
A(nudge_inj, met2, 8.825, 6.795, 0.3, 1.19, 3, 1, 19.27, 0)
A(nudge_inj, met2, 1.245, 7.15, 0.33, 0.33, 3, 2, 19.27, 12.26)
A(nudge_inj, met2, 1.26, 7.315, 0.3, 1.31, 3, 1, 19.27, 0)
A(nudge_inj, met2, 1.225, 8.44, 0.37, 0.37, 3, 2, 19.27, 6.4)
A(nudge_inj, met2, 1.26, 15.025, 0.3, 4.55, 3, 1, 19.27, 0)
R(nudge_inj, met2, [(0.46,0.185,60.17,0.685), (12.505,1.095,12.805,9.265), (14.685,1.095,14.985,11.185), (16.865,1.095,17.165,11.185), (19.045,1.095,19.345,9.265), (31.775,1.095,32.075,9.905), (33.955,1.095,34.255,11.825), (36.135,1.095,36.435,11.825), (38.315,1.095,38.615,9.905), (51.045,1.095,51.345,8.625), (53.225,1.095,53.525,12.465), (55.405,1.095,55.705,12.465), (57.585,1.095,57.885,8.625), (13.295,3.795,13.595,9.905), (15.475,3.795,15.775,9.905), (17.655,3.795,17.955,7.985), (19.835,3.795,20.135,7.985), (32.565,3.795,32.865,10.545), (34.745,3.795,35.045,10.545), (36.925,3.795,37.225,7.985), (39.105,3.795,39.405,7.985), (51.835,3.795,52.135,10.545), (54.015,3.795,54.315,10.545), (56.195,3.795,56.495,7.985), (58.375,3.795,58.675,7.985), (11.81,4.315,12.11,10.545), (13.99,4.315,14.29,11.825), (16.17,4.315,16.47,10.545), (18.35,4.315,18.65,11.825), (31.08,4.315,31.38,12.465), (33.26,4.315,33.56,13.105), (35.44,4.315,35.74,12.465), (37.62,4.315,37.92,13.105), (50.35,4.315,50.65,13.745), (52.53,4.315,52.83,14.385), (54.71,4.315,55.01,13.745), (56.89,4.315,57.19,14.385), (8.79,7.8,9.16,8.17), (17.62,7.8,17.99,8.17), (17.62,7.8,17.99,8.17), (19.8,7.8,20.17,8.17), (19.8,7.8,20.17,8.17), (28.06,7.8,28.43,8.17), (36.89,7.8,37.26,8.17), (36.89,7.8,37.26,8.17), (39.07,7.8,39.44,8.17), (39.07,7.8,39.44,8.17), (47.33,7.8,47.7,8.17), (56.16,7.8,56.53,8.17), (56.16,7.8,56.53,8.17), (58.34,7.8,58.71,8.17), (58.34,7.8,58.71,8.17), (17.655,7.985,17.955,26.595), (19.835,7.985,20.135,26.595), (36.925,7.985,37.225,26.595), (39.105,7.985,39.405,26.595), (56.195,7.985,56.495,26.595), (58.375,7.985,58.675,26.595), (51.01,8.44,51.38,8.81), (51.01,8.44,51.38,8.81), (57.55,8.44,57.92,8.81), (57.55,8.44,57.92,8.81), (51.045,8.625,51.345,31.295), (57.585,8.625,57.885,31.295), (12.47,9.08,12.84,9.45), (12.47,9.08,12.84,9.45), (19.01,9.08,19.38,9.45), (19.01,9.08,19.38,9.45), (12.505,9.265,12.805,31.295), (19.045,9.265,19.345,31.295), (8.79,9.72,9.16,10.09), (13.26,9.72,13.63,10.09), (13.26,9.72,13.63,10.09), (15.44,9.72,15.81,10.09), (15.44,9.72,15.81,10.09), (31.74,9.72,32.11,10.09), (31.74,9.72,32.11,10.09), (38.28,9.72,38.65,10.09), (38.28,9.72,38.65,10.09), (8.825,9.905,9.125,20.095), (13.295,9.905,13.595,26.595), (15.475,9.905,15.775,26.595), (31.775,9.905,32.075,31.295), (38.315,9.905,38.615,31.295), (11.775,10.36,12.145,10.73), (16.135,10.36,16.505,10.73), (28.06,10.36,28.43,10.73), (32.53,10.36,32.9,10.73), (32.53,10.36,32.9,10.73), (34.71,10.36,35.08,10.73), (34.71,10.36,35.08,10.73), (47.33,10.36,47.7,10.73), (51.8,10.36,52.17,10.73), (51.8,10.36,52.17,10.73), (53.98,10.36,54.35,10.73), (53.98,10.36,54.35,10.73), (28.095,10.545,28.395,20.095), (32.565,10.545,32.865,26.595), (34.745,10.545,35.045,26.595), (47.365,10.545,47.665,20.095), (51.835,10.545,52.135,26.595), (54.015,10.545,54.315,26.595), (14.65,11,15.02,11.37), (14.65,11,15.02,11.37), (16.83,11,17.2,11.37), (16.83,11,17.2,11.37), (14.685,11.185,14.985,31.295), (16.865,11.185,17.165,31.295), (13.955,11.64,14.325,12.01), (18.315,11.64,18.685,12.01), (33.92,11.64,34.29,12.01), (33.92,11.64,34.29,12.01), (36.1,11.64,36.47,12.01), (36.1,11.64,36.47,12.01), (33.955,11.825,34.255,31.295), (36.135,11.825,36.435,31.295), (31.045,12.28,31.415,12.65), (35.405,12.28,35.775,12.65), (53.19,12.28,53.56,12.65), (53.19,12.28,53.56,12.65), (55.37,12.28,55.74,12.65), (55.37,12.28,55.74,12.65), (53.225,12.465,53.525,31.295), (55.405,12.465,55.705,31.295), (33.225,12.92,33.595,13.29), (37.585,12.92,37.955,13.29), (50.315,13.56,50.685,13.93), (54.675,13.56,55.045,13.93), (52.495,14.2,52.865,14.57), (56.855,14.2,57.225,14.57), (11.775,15.48,12.145,15.85), (16.135,15.48,16.505,15.85), (11.81,15.665,12.11,26.075), (16.17,15.665,16.47,26.075), (13.955,16.12,14.325,16.49), (18.315,16.12,18.685,16.49), (13.99,16.305,14.29,26.075), (18.35,16.305,18.65,26.075), (31.045,16.76,31.415,17.13), (35.405,16.76,35.775,17.13), (31.08,16.945,31.38,26.075), (35.44,16.945,35.74,26.075), (33.225,17.4,33.595,17.77), (37.585,17.4,37.955,17.77), (33.26,17.585,33.56,26.075), (37.62,17.585,37.92,26.075), (50.315,18.04,50.685,18.41), (54.675,18.04,55.045,18.41), (50.35,18.225,50.65,26.075), (54.71,18.225,55.01,26.075), (52.495,18.68,52.865,19.05), (56.855,18.68,57.225,19.05), (52.53,18.865,52.83,26.075), (56.89,18.865,57.19,26.075), (0.46,31.705,60.17,32.205)])
A(nudge_inj, via2, 0.815, 0.335, 0.2, 0.2, 99, 2, 0.6, 31.52)
A(nudge_inj, via2, 1.31, 8.525, 0.2, 0.2, 3, 2, 19.27, 6.4)
R(nudge_inj, via2, [(8.875,7.885,9.075,8.085), (17.705,7.885,17.905,8.085), (17.705,7.885,17.905,8.085), (19.885,7.885,20.085,8.085), (19.885,7.885,20.085,8.085), (28.145,7.885,28.345,8.085), (36.975,7.885,37.175,8.085), (36.975,7.885,37.175,8.085), (39.155,7.885,39.355,8.085), (39.155,7.885,39.355,8.085), (47.415,7.885,47.615,8.085), (56.245,7.885,56.445,8.085), (56.245,7.885,56.445,8.085), (58.425,7.885,58.625,8.085), (58.425,7.885,58.625,8.085), (51.095,8.525,51.295,8.725), (51.095,8.525,51.295,8.725), (57.635,8.525,57.835,8.725), (57.635,8.525,57.835,8.725), (12.555,9.165,12.755,9.365), (12.555,9.165,12.755,9.365), (19.095,9.165,19.295,9.365), (19.095,9.165,19.295,9.365), (8.875,9.805,9.075,10.005), (13.345,9.805,13.545,10.005), (13.345,9.805,13.545,10.005), (15.525,9.805,15.725,10.005), (15.525,9.805,15.725,10.005), (31.825,9.805,32.025,10.005), (31.825,9.805,32.025,10.005), (38.365,9.805,38.565,10.005), (38.365,9.805,38.565,10.005), (11.86,10.445,12.06,10.645), (16.22,10.445,16.42,10.645), (28.145,10.445,28.345,10.645), (32.615,10.445,32.815,10.645), (32.615,10.445,32.815,10.645), (34.795,10.445,34.995,10.645), (34.795,10.445,34.995,10.645), (47.415,10.445,47.615,10.645), (51.885,10.445,52.085,10.645), (51.885,10.445,52.085,10.645), (54.065,10.445,54.265,10.645), (54.065,10.445,54.265,10.645), (14.735,11.085,14.935,11.285), (14.735,11.085,14.935,11.285), (16.915,11.085,17.115,11.285), (16.915,11.085,17.115,11.285), (14.04,11.725,14.24,11.925), (18.4,11.725,18.6,11.925), (34.005,11.725,34.205,11.925), (34.005,11.725,34.205,11.925), (36.185,11.725,36.385,11.925), (36.185,11.725,36.385,11.925), (31.13,12.365,31.33,12.565), (35.49,12.365,35.69,12.565), (53.275,12.365,53.475,12.565), (53.275,12.365,53.475,12.565), (55.455,12.365,55.655,12.565), (55.455,12.365,55.655,12.565), (33.31,13.005,33.51,13.205), (37.67,13.005,37.87,13.205), (50.4,13.645,50.6,13.845), (54.76,13.645,54.96,13.845), (52.58,14.285,52.78,14.485), (56.94,14.285,57.14,14.485), (11.86,15.565,12.06,15.765), (16.22,15.565,16.42,15.765), (14.04,16.205,14.24,16.405), (18.4,16.205,18.6,16.405), (31.13,16.845,31.33,17.045), (35.49,16.845,35.69,17.045), (33.31,17.485,33.51,17.685), (37.67,17.485,37.87,17.685), (50.4,18.125,50.6,18.325), (54.76,18.125,54.96,18.325), (52.58,18.765,52.78,18.965), (56.94,18.765,57.14,18.965)])
A(nudge_inj, met3, 8.725, 7.815, 11.51, 0.34, 3, 1, 19.27, 0)
R(nudge_inj, met3, [(0.46,0.185,60.17,0.685), (0.46,8.455,40.2,8.795), (50.945,8.455,60.17,8.795), (12.405,9.095,60.17,9.435), (8.725,9.735,15.875,10.075), (31.675,9.735,60.17,10.075), (0.46,10.375,16.57,10.715), (27.995,10.375,35.145,10.715), (47.265,10.375,54.415,10.715), (14.585,11.015,60.17,11.355), (0.46,11.655,18.75,11.995), (33.855,11.655,60.17,11.995), (0.46,12.295,35.84,12.635), (53.125,12.295,60.17,12.635), (0.46,12.935,38.02,13.275), (0.46,13.575,55.11,13.915), (0.46,14.215,57.29,14.555), (0.46,14.855,40.2,15.195), (0.46,15.495,16.57,15.835), (0.46,16.135,18.75,16.475), (0.46,16.775,35.84,17.115), (0.46,17.415,38.02,17.755), (0.46,18.055,55.11,18.395), (0.46,18.695,57.29,19.035), (0.46,31.705,60.17,32.205)])
R(nudge_inj, hvi, [(0,0,60.63,32.665)])
A(nudge_inj, nsdm, 1.835, 1.33, 7.41, 5.25, 3, 1, 19.27, 0)
A(nudge_inj, nsdm, 12.385, 1.33, 1.33, 2.25, 4, 1, 2.18, 0)
A(nudge_inj, nsdm, 31.655, 1.33, 1.33, 2.25, 4, 1, 2.18, 0)
A(nudge_inj, nsdm, 50.925, 1.33, 1.33, 2.25, 4, 1, 2.18, 0)
R(nudge_inj, nsdm, [(0.335,31.58,60.295,32.33)])
R(nudge_inj, psdm, [(0.335,0.06,60.295,0.81)])
A(nudge_inj, npc, 12.865, 4.13, 0.37, 0.37, 4, 1, 2.18, 0)
A(nudge_inj, npc, 32.135, 4.13, 0.37, 0.37, 4, 1, 2.18, 0)
A(nudge_inj, npc, 51.405, 4.13, 0.37, 0.37, 4, 1, 2.18, 0)
A(nudge_inj, npc, 3.065, 7.13, 4.95, 0.37, 3, 1, 19.27, 0)
nudge_inj.add(gdstk.Reference(nudge_inj_p0_xmp0, (1.96,31.655), x_reflection=True))
nudge_inj.add(gdstk.Reference(nudge_inj_p1_xsw1_0p, (12.51,31.655), x_reflection=True))
nudge_inj.add(gdstk.Reference(nudge_inj_p2_xsw2_0p, (14.69,31.655), x_reflection=True))
nudge_inj.add(gdstk.Reference(nudge_inj_p3_xsw3_0p, (16.87,31.655), x_reflection=True))
nudge_inj.add(gdstk.Reference(nudge_inj_p4_xsw4_0p, (19.05,31.655), x_reflection=True))
nudge_inj.add(gdstk.Reference(nudge_inj_p5_xmp1, (21.23,31.655), x_reflection=True))
nudge_inj.add(gdstk.Reference(nudge_inj_p6_xsw1_1p, (31.78,31.655), x_reflection=True))
nudge_inj.add(gdstk.Reference(nudge_inj_p7_xsw2_1p, (33.96,31.655), x_reflection=True))
nudge_inj.add(gdstk.Reference(nudge_inj_p8_xsw3_1p, (36.14,31.655), x_reflection=True))
nudge_inj.add(gdstk.Reference(nudge_inj_p9_xsw4_1p, (38.32,31.655), x_reflection=True))
nudge_inj.add(gdstk.Reference(nudge_inj_p10_xmp2, (40.5,31.655), x_reflection=True))
nudge_inj.add(gdstk.Reference(nudge_inj_p11_xsw1_2p, (51.05,31.655), x_reflection=True))
nudge_inj.add(gdstk.Reference(nudge_inj_p12_xsw2_2p, (53.23,31.655), x_reflection=True))
nudge_inj.add(gdstk.Reference(nudge_inj_p13_xsw3_2p, (55.41,31.655), x_reflection=True))
nudge_inj.add(gdstk.Reference(nudge_inj_p14_xsw4_2p, (57.59,31.655), x_reflection=True))
nudge_inj.add(gdstk.Label('pref', (0.66,15.025), layer=70, texttype=5))
nudge_inj.add(gdstk.Label('nref', (0.66,8.625), layer=70, texttype=5))
nudge_inj.add(gdstk.Label('sp0', (0.66,10.545), layer=70, texttype=5))
nudge_inj.add(gdstk.Label('spb0', (0.66,15.665), layer=70, texttype=5))
nudge_inj.add(gdstk.Label('sm0', (0.66,11.825), layer=70, texttype=5))
nudge_inj.add(gdstk.Label('smb0', (0.66,16.305), layer=70, texttype=5))
nudge_inj.add(gdstk.Label('sp1', (0.66,12.465), layer=70, texttype=5))
nudge_inj.add(gdstk.Label('spb1', (0.66,16.945), layer=70, texttype=5))
nudge_inj.add(gdstk.Label('sm1', (0.66,13.105), layer=70, texttype=5))
nudge_inj.add(gdstk.Label('smb1', (0.66,17.585), layer=70, texttype=5))
nudge_inj.add(gdstk.Label('sp2', (0.66,13.745), layer=70, texttype=5))
nudge_inj.add(gdstk.Label('spb2', (0.66,18.225), layer=70, texttype=5))
nudge_inj.add(gdstk.Label('sm2', (0.66,14.385), layer=70, texttype=5))
nudge_inj.add(gdstk.Label('smb2', (0.66,18.865), layer=70, texttype=5))
nudge_inj.add(gdstk.Label('yp0', (59.97,9.265), layer=70, texttype=5))
nudge_inj.add(gdstk.Label('ym0', (59.97,11.185), layer=70, texttype=5))
nudge_inj.add(gdstk.Label('yp1', (59.97,9.905), layer=70, texttype=5))
nudge_inj.add(gdstk.Label('ym1', (59.97,11.825), layer=70, texttype=5))
nudge_inj.add(gdstk.Label('yp2', (59.97,8.625), layer=70, texttype=5))
nudge_inj.add(gdstk.Label('ym2', (59.97,12.465), layer=70, texttype=5))
nudge_inj.add(gdstk.Label('vss', (0.96,0.435), layer=70, texttype=5))
nudge_inj.add(gdstk.Label('vdd', (0.96,31.955), layer=70, texttype=5))

lib.write_gds('nudge_inj.gds')
